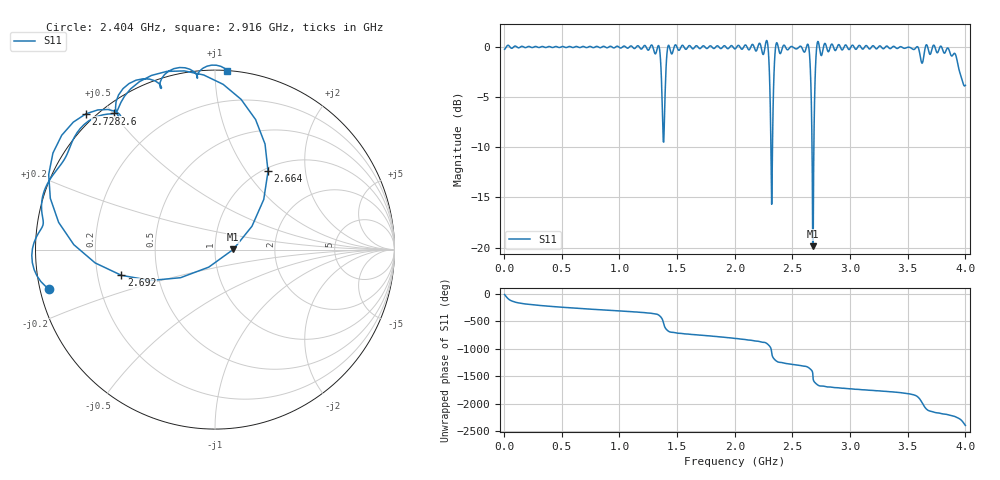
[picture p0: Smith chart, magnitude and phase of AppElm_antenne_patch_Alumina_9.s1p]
! TOUCHSTONE file generated by CST MICROWAVE STUDIO
! Date and time: Thu Jun  9 08:55:03 2022
! Project name: AppElm_antenne_patch_Alumina.cst
! Parameters = {L=35.075; W=41.8; e=0.035; h=1.6; lambda=0.190476; ls=90; w0=1.12; w1=0.373; ws=90; y0=14; y1=10}
! Header version: 2018
! Port assignment regex: !\s*Touchstone port\s*([0-9]+)\s*=\s*(CST MWS port|CST DS port)\s*([0-9]+|Zmin|Zmax)\s*\(\"(.*)\"\)(\s*mode\s*([0-9]+))?.*
! Touchstone port assignment:
! Touchstone port 1 = CST MWS port 1 ("")
# GHz S MA R 50
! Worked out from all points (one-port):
!   1000 points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, 4 MHz to 4 GHz, reference 50 ohm
!   lowest |S11| = -19.9 dB at 2.676 GHz (marker M1), VSWR 1.23, Z = 61.3 + j0.102 ohm
!   |S11| at or under -10 dB: 2.313 GHz to 2.327 GHz (13.83 MHz wide, 0.596 % of centre); 2.67 GHz to 2.686 GHz (16.28 MHz wide, 0.608 % of centre)
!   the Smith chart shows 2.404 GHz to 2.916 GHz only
!   S11 on the Smith chart (normalised r, x): 2.404 GHz: 0.03, -0.12; 2.6 GHz: 0.04, +0.50; 2.664 GHz: 1.05, +1.27; 2.692 GHz: 0.30, -0.12; 2.728 GHz: -0.03, +0.43; 2.916 GHz: 0.00, +1.07
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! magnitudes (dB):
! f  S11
! 4 MHz  -0.2
! 504 MHz  0.0
! 1.004 GHz  -0.1
! 1.336 GHz  0.1
! 1.384 GHz  -9.5
! 1.424 GHz  0.2
! 1.504 GHz  -0.2
! 2.004 GHz  -0.2
! 2.276 GHz  0.7
! 2.308 GHz  -6.0
! 2.32 GHz  -15.7
! 2.332 GHz  -6.3
! 2.36 GHz  0.4
! 2.404 GHz  -0.4
! 2.504 GHz  0.0
! 2.6 GHz  -0.5
! 2.64 GHz  0.1
! 2.652 GHz  -1.4
! 2.664 GHz  -5.6
! 2.676 GHz  -19.9
! 2.692 GHz  -5.3
! 2.708 GHz  -0.3
! 2.728 GHz  0.4
! 2.916 GHz  0.0
! 3.004 GHz  -0.1
! 3.504 GHz  0.0
! 3.852 GHz  -0.1
! 4 GHz  -3.8
